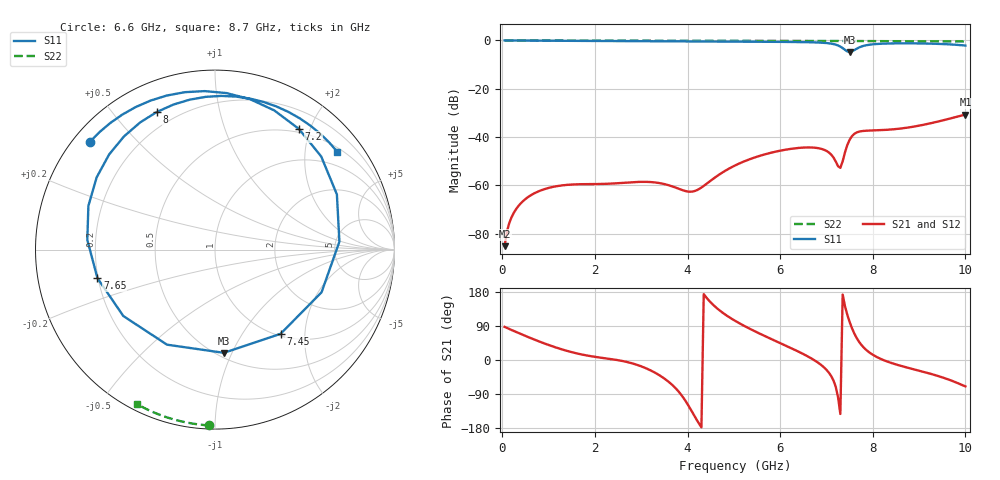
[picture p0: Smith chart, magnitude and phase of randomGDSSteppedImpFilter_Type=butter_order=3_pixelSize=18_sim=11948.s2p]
! freq	dB(S11)	phase(S11)	dB(S12)	phase(S12)
!  dB(S21)	phase(S21)	dB(S22)	phase(S22)
!S-par simulation data
#  GHz  S  DB  R 50
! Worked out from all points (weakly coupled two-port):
!   200 points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, 50 MHz to 10 GHz, reference 50 ohm
!   highest |S21| = -30.68 dB at 10 GHz (marker M1); lowest = -85.2 dB at 50 MHz (marker M2)
!   lowest |S11| = -4.8 dB at 7.5 GHz (marker M3), VSWR 3.73, Z = 27 - j46.6 ohm
!   |S11| at or under -10 dB: nowhere
!   |S22| runs from -0.4 to 0.0 dB; largest |S21 - S12| = 0
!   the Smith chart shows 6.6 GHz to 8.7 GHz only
!   S11 on the Smith chart (normalised r, x): 6.6 GHz: 0.05, +0.37; 7.2 GHz: 0.45, +1.83; 7.45 GHz: 1.04, -1.51; 7.65 GHz: 0.20, -0.12; 8 GHz: 0.13, +0.65; 8.7 GHz: 0.60, +2.74
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0.05  -0.00 -4.7  -85.16 87.4  -85.16 87.4  -0.00 -0.8
0.4  -0.05 -37.1  -67.41 68.7  -67.41 68.7  -0.01 -6.1
0.9  -0.10 -82.1  -61.61 44.1  -61.61 44.1  -0.02 -13.6
1.75  -0.17 -155.0  -59.49 13.7  -59.49 13.7  -0.03 -26.2
2.25  -0.21 161.8  -59.34 4.1  -59.34 4.1  -0.04 -33.5
2.75  -0.26 115.9  -58.75 -7.0  -58.75 -7.0  -0.05 -40.7
3.4  -0.34 51.3  -59.06 -40.8  -59.06 -40.8  -0.07 -49.9
4.1  -0.40 -18.9  -62.57 -137.1  -62.57 -137.1  -0.08 -59.5
5.05  -0.47 -101.2  -51.53 101.8  -51.53 101.8  -0.11 -72.2
5.9  -0.57 -164.7  -46.04 50.2  -46.04 50.2  -0.14 -83.1
6.6  -0.72 139.2  -44.28 9.3  -44.28 9.3  -0.17 -91.8
6.7  -0.77 129.6  -44.33 2.3  -44.33 2.3  -0.18 -93.0
7.2  -1.74 55.2  -50.07 -70.5  -50.07 -70.5  -0.21 -99.1
7.35  -3.17 3.6  -50.01 172.7  -50.01 172.7  -0.22 -100.9
7.45  -4.51 -52.1  -43.31 119.4  -43.31 119.4  -0.22 -102.0
7.5  -4.77 -85.1  -41.11 100.5  -41.11 100.5  -0.23 -102.6
7.65  -3.43 -166.4  -38.11 58.5  -38.11 58.5  -0.24 -104.4
8  -1.59 113.0  -37.26 13.9  -37.26 13.9  -0.26 -108.5
8.35  -1.25 71.7  -36.93 -5.7  -36.93 -5.7  -0.29 -112.6
8.7  -1.18 38.6  -36.22 -18.6  -36.22 -18.6  -0.32 -116.6
9.35  -1.37 -19.1  -33.84 -40.0  -33.84 -40.0  -0.38 -124.0
10  -2.10 -87.1  -30.68 -69.7  -30.68 -69.7  -0.44 -131.4
